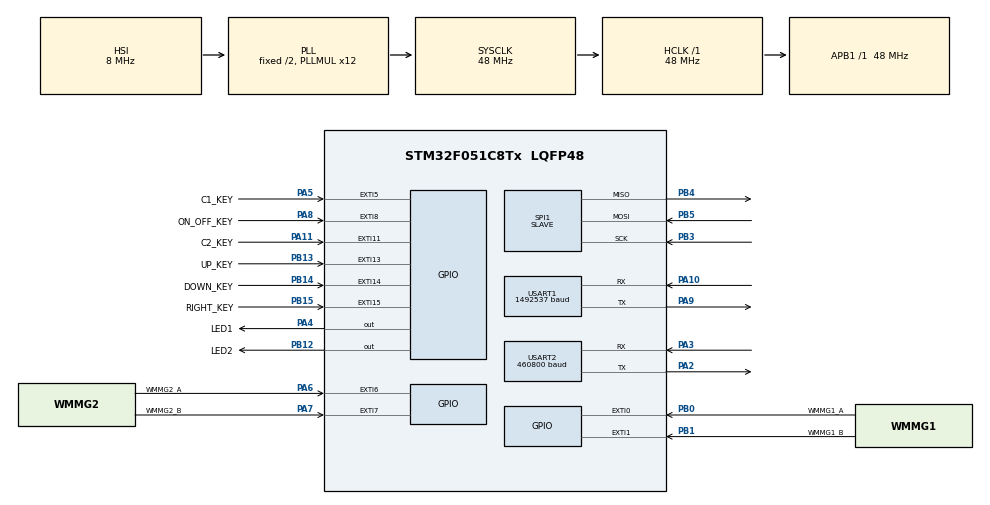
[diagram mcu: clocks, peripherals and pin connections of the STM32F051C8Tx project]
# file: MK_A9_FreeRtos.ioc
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Dma.Request0=USART1_RX
Dma.USART1_RX.0.Direction=DMA_PERIPH_TO_MEMORY
Dma.USART1_RX.0.Instance=DMA1_Channel3
Dma.USART1_RX.0.MemDataAlignment=DMA_MDATAALIGN_BYTE
Dma.USART1_RX.0.MemInc=DMA_MINC_ENABLE
Dma.USART1_RX.0.Mode=DMA_NORMAL
Dma.USART1_RX.0.PeriphDataAlignment=DMA_PDATAALIGN_BYTE
Dma.USART1_RX.0.PeriphInc=DMA_PINC_DISABLE
Dma.USART1_RX.0.Priority=DMA_PRIORITY_LOW
IWDG.Prescaler=IWDG_PRESCALER_32
IWDG.Reload=1000
Mcu.Family=STM32F0
Mcu.Name=STM32F051C8Tx
Mcu.Package=LQFP48
NVIC.DMA1_Channel2_3_IRQn=true\:0\:0\:false\:false\:true\:false
NVIC.EXTI0_1_IRQn=true\:0\:0\:false\:false\:true\:true
NVIC.EXTI4_15_IRQn=true\:0\:0\:false\:false\:true\:true
NVIC.TIM6_DAC_IRQn=true\:0\:0\:false\:false\:true\:false
NVIC.TimeBase=TIM6_DAC_IRQn
NVIC.TimeBaseIP=TIM6
NVIC.USART1_IRQn=true\:0\:0\:false\:false\:true\:true
NVIC.USART2_IRQn=true\:0\:0\:false\:false\:true\:true
PA0.Mode=SYS_WakeUp0
PA0.Signal=SYS_WKUP1
PA10.Mode=Asynchronous
PA10.Signal=USART1_RX
PA11.GPIO_Label=C2_KEY
PA11.GPIO_ModeDefaultEXTI=GPIO_MODE_IT_RISING_FALLING
PA11.GPIO_PuPd=GPIO_PULLUP
PA11.Signal=GPXTI11
PA13.Mode=Serial_Wire
PA13.Signal=SYS_SWDIO
PA14.Mode=Serial_Wire
PA14.Signal=SYS_SWCLK
PA2.Mode=Asynchronous
PA2.Signal=USART2_TX
PA3.Mode=Asynchronous
PA3.Signal=USART2_RX
PA4.GPIO_Label=LED1
PA4.Signal=GPIO_Output
PA5.GPIO_Label=C1_KEY
PA5.GPIO_ModeDefaultEXTI=GPIO_MODE_IT_RISING_FALLING
PA5.GPIO_PuPd=GPIO_PULLUP
PA5.Signal=GPXTI5
PA6.GPIO_Label=WMMG2_A
PA6.GPIO_ModeDefaultEXTI=GPIO_MODE_IT_RISING_FALLING
PA6.GPIO_PuPd=GPIO_PULLUP
PA6.Signal=GPXTI6
PA7.GPIO_Label=WMMG2_B
PA7.GPIO_ModeDefaultEXTI=GPIO_MODE_IT_RISING_FALLING
PA7.GPIO_PuPd=GPIO_PULLUP
PA7.Signal=GPXTI7
PA8.GPIO_Label=ON_OFF_KEY
PA8.GPIO_ModeDefaultEXTI=GPIO_MODE_IT_RISING_FALLING
PA8.GPIO_PuPd=GPIO_PULLUP
PA8.Signal=GPXTI8
PA9.Mode=Asynchronous
PA9.Signal=USART1_TX
PB0.GPIO_Label=WMMG1_A
PB0.GPIO_ModeDefaultEXTI=GPIO_MODE_IT_RISING_FALLING
PB0.GPIO_PuPd=GPIO_PULLUP
PB0.Signal=GPXTI0
PB1.GPIO_Label=WMMG1_B
PB1.GPIO_ModeDefaultEXTI=GPIO_MODE_IT_RISING_FALLING
PB1.GPIO_PuPd=GPIO_PULLUP
PB1.Signal=GPXTI1
PB12.GPIO_Label=LED2
PB12.GPIO_PuPd=GPIO_PULLUP
PB12.Signal=GPIO_Output
PB13.GPIO_Label=UP_KEY
PB13.GPIO_ModeDefaultEXTI=GPIO_MODE_IT_RISING_FALLING
PB13.GPIO_PuPd=GPIO_PULLUP
PB13.Signal=GPXTI13
PB14.GPIO_Label=DOWN_KEY
PB14.GPIO_ModeDefaultEXTI=GPIO_MODE_IT_RISING_FALLING
PB14.GPIO_PuPd=GPIO_PULLUP
PB14.Signal=GPXTI14
PB15.GPIO_Label=RIGHT_KEY
PB15.GPIO_ModeDefaultEXTI=GPIO_MODE_IT_RISING_FALLING
PB15.GPIO_PuPd=GPIO_PULLUP
PB15.Signal=GPXTI15
PB3.Mode=Full_Duplex_Slave
PB3.Signal=SPI1_SCK
PB4.Mode=Full_Duplex_Slave
PB4.Signal=SPI1_MISO
PB5.Mode=Full_Duplex_Slave
PB5.Signal=SPI1_MOSI
PC13.Mode=SYS_WakeUp1
PC13.Signal=SYS_WKUP2
PF0-OSC_IN.Mode=HSE-External-Clock-Source
PF0-OSC_IN.Signal=RCC_OSC_IN
ProjectManager.HeapSize=0x200
ProjectManager.StackSize=0x400
ProjectManager.TargetToolchain=EWARM
RCC.AHBFreq_Value=48000000
RCC.APB1Freq_Value=48000000
RCC.APB1TimFreq_Value=48000000
RCC.HCLKFreq_Value=48000000
RCC.PLLMUL=RCC_PLL_MUL12
RCC.SYSCLKFreq_VALUE=48000000
RCC.SYSCLKSource=RCC_SYSCLKSOURCE_PLLCLK
RCC.Usart1ClockSelection=RCC_USART1CLKSOURCE_SYSCLK
SPI1.Direction=SPI_DIRECTION_2LINES
SPI1.Mode=SPI_MODE_SLAVE
SPI1.VirtualType=VM_SLAVE
USART1.BaudRate=1492537
USART1.VirtualMode-Asynchronous=VM_ASYNC
USART2.BaudRate=460800
USART2.VirtualMode-Asynchronous=VM_ASYNC
VP_IWDG_VS_IWDG.Mode=IWDG_Activate
VP_RTC_VS_RTC_Activate.Mode=RTC_Enabled
VP_SYS_VS_tim6.Mode=TIM6
board=MK_A9_FreeRtos

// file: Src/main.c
/**
  ******************************************************************************
  * File Name          : main.c
  * Description        : Main program body
  ******************************************************************************
  ** This notice applies to any and all portions of this file
  * that are not between comment pairs USER CODE BEGIN and
  * USER CODE END. Other portions of this file, whether
  * inserted by the user or by software development tools
  * are owned by their respective copyright owners.
  *
  * COPYRIGHT(c) 2017 STMicroelectronics
  *
  * Redistribution and use in source and binary forms, with or without modification,
  * are permitted provided that the following conditions are met:
  *   1. Redistributions of source code must retain the above copyright notice,
  *      this list of conditions and the following disclaimer.
  *   2. Redistributions in binary form must reproduce the above copyright notice,
  *      this list of conditions and the following disclaimer in the documentation
  *      and/or other materials provided with the distribution.
  *   3. Neither the name of STMicroelectronics nor the names of its contributors
  *      may be used to endorse or promote products derived from this software
  *      without specific prior written permission.
  *
  * THIS SOFTWARE IS PROVIDED BY THE COPYRIGHT HOLDERS AND CONTRIBUTORS "AS IS"
  * AND ANY EXPRESS OR IMPLIED WARRANTIES, INCLUDING, BUT NOT LIMITED TO, THE
  * IMPLIED WARRANTIES OF MERCHANTABILITY AND FITNESS FOR A PARTICULAR PURPOSE ARE
  * DISCLAIMED. IN NO EVENT SHALL THE COPYRIGHT HOLDER OR CONTRIBUTORS BE LIABLE
  * FOR ANY DIRECT, INDIRECT, INCIDENTAL, SPECIAL, EXEMPLARY, OR CONSEQUENTIAL
  * DAMAGES (INCLUDING, BUT NOT LIMITED TO, PROCUREMENT OF SUBSTITUTE GOODS OR
  * SERVICES; LOSS OF USE, DATA, OR PROFITS; OR BUSINESS INTERRUPTION) HOWEVER
  * CAUSED AND ON ANY THEORY OF LIABILITY, WHETHER IN CONTRACT, STRICT LIABILITY,
  * OR TORT (INCLUDING NEGLIGENCE OR OTHERWISE) ARISING IN ANY WAY OUT OF THE USE
  * OF THIS SOFTWARE, EVEN IF ADVISED OF THE POSSIBILITY OF SUCH DAMAGE.
  *
  ******************************************************************************
  */
#include "main.h"
#include "stm32f0xx_hal.h"
#include "dma.h"
#include "iwdg.h"
#include "rtc.h"
#include "spi.h"
#include "usart.h"
#include "gpio.h"

/* USER CODE BEGIN Includes */
/* ע��رտ��Ź���ʼ�� */
#include "MK_A9.h"
/* USER CODE END Includes */

/* USER CODE BEGIN PV */
/* Private variables ---------------------------------------------------------*/
#define BUFFERSIZE                       100
__IO uint32_t UserButtonStatus = 0;  /* set to 1 after User Button interrupt  */
uint16_t time_count = 0;

uint8_t aTxBuffer[] = "****SPI - Two Boards communication based on Polling **** SPI Message ******** SPI Message ******** SPI Message ****";
/* USER CODE END PV */

void SystemClock_Config(void);

/* USER CODE BEGIN PFP */
/* Private function prototypes -----------------------------------------------*/

/* USER CODE END PFP */

int main(void)
{

  /* MCU Configuration----------------------------------------------------------*/

  /* Reset of all peripherals, Initializes the Flash interface and the Systick. */
  HAL_Init();

  /* Configure the system clock */
  SystemClock_Config();

  /* USER CODE BEGIN SysInit */
//  HAL_PWR_EnableBkUpAccess();

  /* USER CODE END SysInit */

  /* Initialize all configured peripherals */
  MX_GPIO_Init();
  MX_DMA_Init();
  MX_USART1_UART_Init();
  MX_RTC_Init();
  MX_SPI1_Init();
  MX_USART2_UART_Init();

  /* USER CODE BEGIN 2 */
	usr_init();
  /* USER CODE END 2 */

  /* Infinite loop */
  while (1)
  {

  /* USER CODE BEGIN 3 */
    /* Configure User push-button */
//    MX_GPIO_Init();

    while (time_count < 2000)
    {
//    	LL_IWDG_ReloadCounter(IWDG);
      //LL_IWDG_ReloadCounter(IWDG);
			usr_loop();
			//HAL_Delay(1);
			//time_count++;

    }
    time_count = 0;

//    /* Loop while User push-button is maintained pressed */
//    while(HAL_GPIO_ReadPin(LEFT_KEY_GPIO_Port, LEFT_KEY_Pin) != SET){}

    /* Make sure LED2 is turned off to
       reduce low power mode consumption */
//    HAL_GPIO_WritePin(LED1_GPIO_Port, LED1_Pin, GPIO_PIN_SET);

#if defined (SLEEP_MODE)
    /* Sleep Mode Entry
        - System Running at PLL (48 MHz)
        - Flash 1 wait state
        - Instruction and Data caches ON
        - Prefetch ON
        - Code running from Internal FLASH
        - All peripherals disabled.
        - Wakeup using EXTI Line (User push-button PC.13)
    */
    printf("sleep mode\r\n");
    SleepMode_Measure();
    printf("wake up\r\n");
#elif defined (STOP_MODE)
    /* STOP Mode Entry
      - RTC Clocked by LSI
      - Regulator in LP mode
      - HSI, HSE OFF and LSI OFF if not used as RTC Clock source
      - No IWDG
      - Wakeup using EXTI Line (User push-button PC.13)
    */
    StopMode_Measure();
//    SystemClock_Config();
#elif defined (STANDBY_MODE)
    /* STANDBY Mode Entry
        - RTC OFF
        - IWDG and LSI OFF
        - Wakeup using WakeUp Pin (wire Vdd to PA.00)
    */
    StandbyMode_Measure();
#endif /* SLEEP_MODE */
  }

  /* USER CODE END 3 */

}

/** System Clock Configuration
*/
void SystemClock_Config(void)
{

  RCC_OscInitTypeDef RCC_OscInitStruct;
  RCC_ClkInitTypeDef RCC_ClkInitStruct;
  RCC_PeriphCLKInitTypeDef PeriphClkInit;

    /**Initializes the CPU, AHB and APB busses clocks
    */
  RCC_OscInitStruct.OscillatorType = RCC_OSCILLATORTYPE_HSI|RCC_OSCILLATORTYPE_LSI;
  RCC_OscInitStruct.HSIState = RCC_HSI_ON;
  RCC_OscInitStruct.HSICalibrationValue = 16;
  RCC_OscInitStruct.LSIState = RCC_LSI_ON;
  RCC_OscInitStruct.PLL.PLLState = RCC_PLL_ON;
  RCC_OscInitStruct.PLL.PLLSource = RCC_PLLSOURCE_HSI;
  RCC_OscInitStruct.PLL.PLLMUL = RCC_PLL_MUL12;
  RCC_OscInitStruct.PLL.PREDIV = RCC_PREDIV_DIV1;
  if (HAL_RCC_OscConfig(&RCC_OscInitStruct) != HAL_OK)
  {
    _Error_Handler(__FILE__, __LINE__);
  }

    /**Initializes the CPU, AHB and APB busses clocks
    */
  RCC_ClkInitStruct.ClockType = RCC_CLOCKTYPE_HCLK|RCC_CLOCKTYPE_SYSCLK
                              |RCC_CLOCKTYPE_PCLK1;
  RCC_ClkInitStruct.SYSCLKSource = RCC_SYSCLKSOURCE_PLLCLK;
  RCC_ClkInitStruct.AHBCLKDivider = RCC_SYSCLK_DIV1;
  RCC_ClkInitStruct.APB1CLKDivider = RCC_HCLK_DIV1;

  if (HAL_RCC_ClockConfig(&RCC_ClkInitStruct, FLASH_LATENCY_1) != HAL_OK)
  {
    _Error_Handler(__FILE__, __LINE__);
  }

  PeriphClkInit.PeriphClockSelection = RCC_PERIPHCLK_USART1|RCC_PERIPHCLK_RTC;
  PeriphClkInit.Usart1ClockSelection = RCC_USART1CLKSOURCE_SYSCLK;
  PeriphClkInit.RTCClockSelection = RCC_RTCCLKSOURCE_LSI;
  if (HAL_RCCEx_PeriphCLKConfig(&PeriphClkInit) != HAL_OK)
  {
    _Error_Handler(__FILE__, __LINE__);
  }

    /**Configure the Systick interrupt time
    */
  HAL_SYSTICK_Config(HAL_RCC_GetHCLKFreq()/1000);

    /**Configure the Systick
    */
  HAL_SYSTICK_CLKSourceConfig(SYSTICK_CLKSOURCE_HCLK);

  /* SysTick_IRQn interrupt configuration */
  HAL_NVIC_SetPriority(SysTick_IRQn, 0, 0);
}

void HAL_TIM_PeriodElapsedCallback(TIM_HandleTypeDef *htim)
{
  if (htim->Instance == TIM6) {
    HAL_IncTick();
  }
}

void _Error_Handler(char * file, int line)
{
  while(1)
  {
  }
}

/************************ (C) COPYRIGHT STMicroelectronics *****END OF FILE****/
